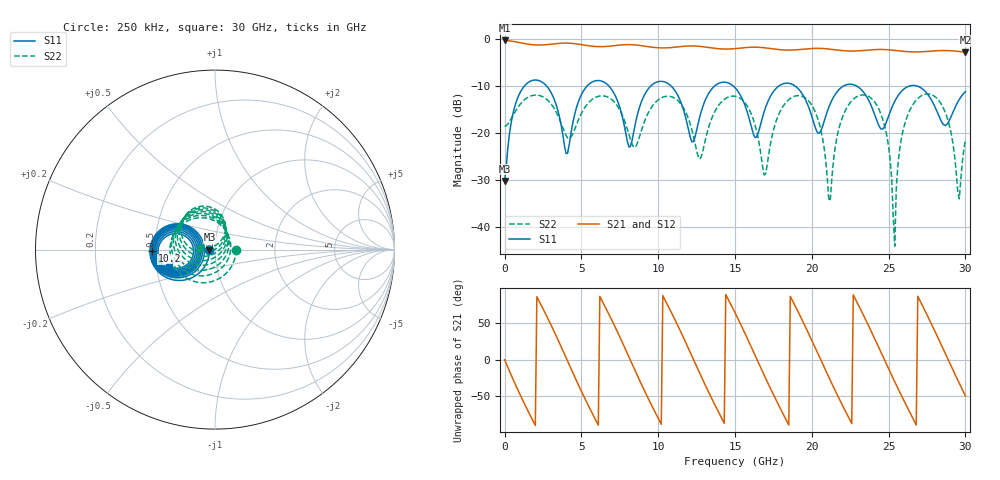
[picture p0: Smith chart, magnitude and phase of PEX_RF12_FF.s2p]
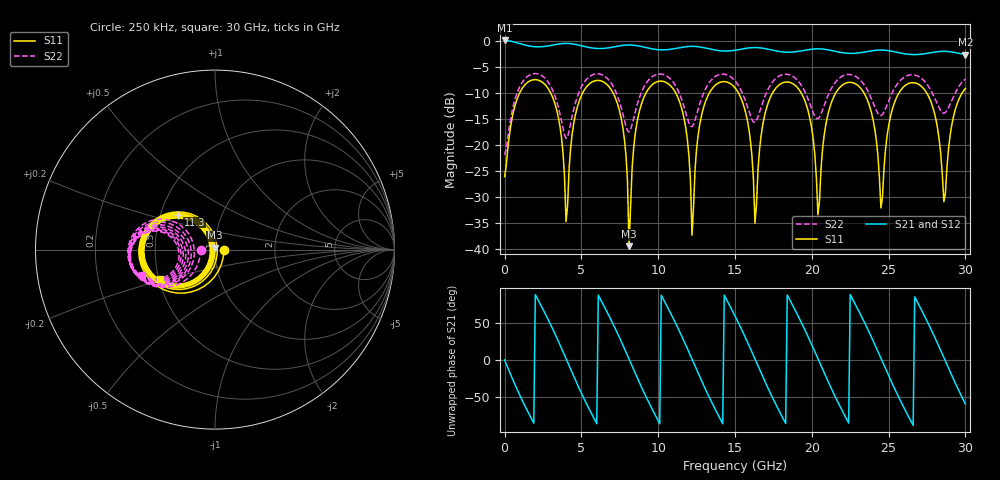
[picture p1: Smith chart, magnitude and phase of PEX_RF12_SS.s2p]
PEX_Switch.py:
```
import matplotlib.pyplot as plt
import skrf as rf
from skrf import Network
import numpy as np

plt.rcParams["font.family"] = "Century Gothic"
plt.rcParams["font.size"] = "14"

SP_FF   = Network('SP/PEX_RF12_FF.s2p')
SP_SS   = Network('SP/PEX_RF12_SS.s2p')
SP_TT   = Network('SP/PEX_RF12_TT.s2p')
SP_Ideal =Network('SP/SP_Bad_Load.s2p')

#print(SP_TT.s[:, 0, 0])
S21_TT_db = 20*np.log10(SP_TT.s[:, 1, 0])
S21_FF_db = 20*np.log10(SP_FF.s[:, 1, 0])
S21_SS_db = 20*np.log10(SP_SS.s[:, 1, 0])
S21_Ideal_db = 20*np.log10(SP_Ideal.s[:, 1, 0])
F = SP_TT.f[:]
Error_FF = S21_Ideal_db-S21_FF_db
Error_SS = S21_Ideal_db-S21_SS_db
Error_TT = S21_Ideal_db-S21_TT_db


plt.figure()
plt.title("PEX")
plt.plot(F, -Error_SS, label='SS', linewidth ='3')
plt.plot(F, Error_TT, label='TT', linewidth ='3')
plt.plot(F, -Error_FF, label='FF', linewidth ='3')
plt.legend()
plt.xlabel('F, Гц')
plt.ylabel('Error, дБ')
plt.grid()




plt.figure()
plt.title("PEX")
SP_SS.plot_s_db(m=1-1, n=1-1, label='SS', linewidth ='3')
SP_TT.plot_s_db(m=1-1, n=1-1, label='TT', linewidth ='3')
SP_FF.plot_s_db(m=1-1, n=1-1, label='FF', linewidth ='3')
plt.xlabel('F, Гц')
plt.ylabel('S11, дБ')
plt.grid()

plt.figure()
plt.title("PEX")
SP_SS.plot_s_db(m=2-1, n=1-1, label='SS', linewidth ='3')
SP_TT.plot_s_db(m=2-1, n=1-1, label='TT', linewidth ='3')
SP_FF.plot_s_db(m=2-1, n=1-1, label='FF', linewidth ='3')
plt.xlabel('F, Гц')
plt.ylabel('S21, дБ')
plt.grid()


plt.show()
```
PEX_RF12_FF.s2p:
! Port 1 = P1 P2
! Port 2 = P2 P2
# hz S ri R 50
! freq  reS11  imS11  reS21  imS21  reS12  imS12  reS22  imS22
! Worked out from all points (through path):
!   301 points, 250 kHz to 30 GHz, reference 50 ohm
!   highest |S21| = -0.40 dB at 250 kHz (marker M1); lowest = -2.9 dB at 30 GHz (marker M2)
!   lowest |S11| = -30.2 dB at 250 kHz (marker M3), VSWR 1.06, Z = 47 - j0.00781 ohm
!   |S11| at or under -10 dB: 18.88 GHz to 22.11 GHz (3.231 GHz wide, 15.8 % of centre); 22.87 GHz to 26.45 GHz (3.583 GHz wide, 14.5 % of centre); 26.75 GHz to end of sweep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
!   |S22| runs from -44.1 to -11.8 dB; largest |S21 - S12| = 0
!   S11 on the Smith chart (normalised r, x): 250 kHz: 0.94, -0.00; 10.2 GHz: 0.48, -0.01; 30 GHz: 0.58, -0.12
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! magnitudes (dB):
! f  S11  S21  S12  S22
! 250 kHz  -30.2  -0.4  -0.4  -18.6
! 1.6 GHz  -9.2  -1.2  -1.2  -12.3
! 10.2 GHz  -9.1  -2.0  -2.0  -12.6
! 15.1 GHz  -10.8  -2.1  -2.1  -12.3
! 16.9 GHz  -15.5  -1.9  -1.9  -29.0
! 19.8 GHz  -14.6  -2.2  -2.2  -13.3
! 21.2 GHz  -13.8  -2.3  -2.3  -34.5
! 23.9 GHz  -14.5  -2.4  -2.4  -12.8
! 25.4 GHz  -13.3  -2.5  -2.5  -44.1
! 26.6 GHz  -9.9  -2.8  -2.8  -13.9
! 30 GHz  -11.3  -2.9  -2.9  -21.5
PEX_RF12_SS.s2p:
! Port 1 = P1 P2
! Port 2 = P2 P2
# hz S ri R 50
! freq  reS11  imS11  reS21  imS21  reS12  imS12  reS22  imS22
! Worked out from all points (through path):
!   301 points, 250 kHz to 30 GHz, reference 50 ohm
!   highest |S21| = 0.11 dB at 250 kHz (marker M1); lowest = -2.6 dB at 30 GHz (marker M2)
!   lowest |S11| = -39.5 dB at 8.1 GHz (marker M3), VSWR 1.02, Z = 49.9 + j1.05 ohm
!   |S11| at or under -10 dB: 7.06 GHz to 9.208 GHz (2.149 GHz wide, 26.4 % of centre); 23.4 GHz to 25.68 GHz (2.279 GHz wide, 9.29 % of centre); 27.48 GHz to 29.79 GHz (2.308 GHz wide, 8.06 % of centre)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
!   |S22| runs from -21.9 to -6.3 dB; largest |S21 - S12| = 0
!   S11 on the Smith chart (normalised r, x): 250 kHz: 1.10, -0.00; 11.3 GHz: 0.62, +0.26; 30 GHz: 0.51, -0.19
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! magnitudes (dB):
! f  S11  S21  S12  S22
! 250 kHz  -26.1  0.1  0.1  -21.9
! 6.4 GHz  -7.8  -1.4  -1.4  -6.6
! 8.1 GHz  -39.5  -0.8  -0.8  -17.5
! 11.3 GHz  -11.0  -1.3  -1.3  -9.6
! 12.2 GHz  -37.4  -1.0  -1.0  -16.5
! 15.1 GHz  -9.4  -1.7  -1.7  -8.0
! 16.3 GHz  -35.1  -1.3  -1.3  -15.6
! 18 GHz  -8.2  -2.1  -2.1  -6.6
! 20.4 GHz  -33.5  -1.5  -1.5  -15.0
! 21.9 GHz  -8.7  -2.2  -2.2  -6.9
! 30 GHz  -9.1  -2.6  -2.6  -7.3
